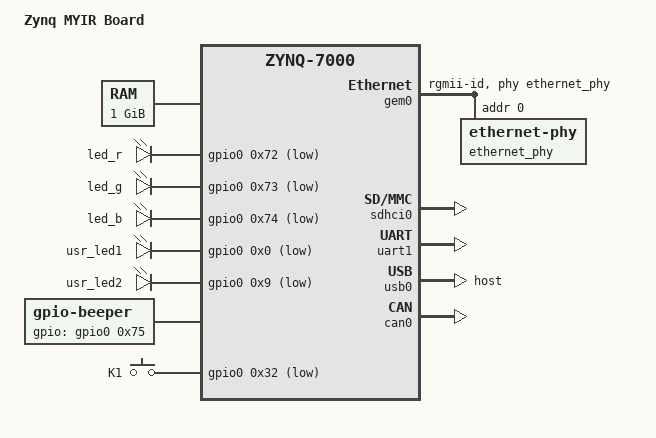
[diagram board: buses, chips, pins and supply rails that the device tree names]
/*
 *  Copyright (C) 2015 Andrea Merello <adnrea.merello@gmail.com>
 *
 *  Based on zynq-zed.dts which is:
 *  Copyright (C) 2011 - 2014 Xilinx
 *  Copyright (C) 2012 National Instruments Corp.
 *
 * This software is licensed under the terms of the GNU General Public
 * License version 2, as published by the Free Software Foundation, and
 * may be copied, distributed, and modified under those terms.
 *
 * This program is distributed in the hope that it will be useful,
 * but WITHOUT ANY WARRANTY; without even the implied warranty of
 * MERCHANTABILITY or FITNESS FOR A PARTICULAR PURPOSE.  See the
 * GNU General Public License for more details.
 */
/dts-v1/;
/include/ "zynq-7000.dtsi"

/ {
	model = "Zynq MYIR Board";
	compatible = "xlnx,zynq-7000";

	aliases {
		ethernet0 = &gem0;
		serial0 = &uart1;
	};

	memory {
		device_type = "memory";
		reg = <0x0 0x40000000>;
	};

	chosen {
		bootargs = "console=ttyPS0,115200 earlyprintk root=/dev/mmcblk0p2 rootwait";
	};

	gpio-leds {
		compatible = "gpio-leds";
		led_r {
			label = "led_r";
			gpios = <&gpio0 0x72 0x1>;
			default-state = "on";
			linux,default-trigger = "heartbeat";
		};

		led_g {
			label = "led_g";
			gpios = <&gpio0 0x73 0x1>;
			default-state = "on";
			linux,default-trigger = "heartbeat";
		};

		led_b {
			label = "led_b";
			gpios = <&gpio0 0x74 0x1>;
			default-state = "on";
			linux,default-trigger = "heartbeat";
		};

		usr_led1 {
			label = "usr_led1";
			gpios = <&gpio0 0x0 0x1>;
			default-state = "off";
			linux,default-trigger = "none";
		};

		usr_led2 {
			label = "usr_led2";
			gpios = <&gpio0 0x9 0x1>;
			default-state = "off";
			linux,default-trigger = "none";
		};
	};

	gpio-beep {
		compatible = "gpio-beeper";
		lable = "pl-beep";
		gpios = <&gpio0 0x75 0x0>;
	};

	gpio-keys {
		compatible = "gpio-keys";
		#address-cells = <0x1>;
		#size-cells = <0x0>;
		autorepeat;
		K1 {
			label = "K1";
			gpios = <&gpio0 0x32 0x1>;
			linux,code = <0x66>;
			gpio-key,wakeup;
			autorepeat;
		};
	};
};

&clkc {
	ps-clk-frequency = <33333333>;
	fclk-enable = <0xf>;
};

&gem0 {
	status = "okay";
	phy-mode = "rgmii-id";
	phy-handle = <&ethernet_phy>;

	ethernet_phy: ethernet-phy@0 {
		reg = <0x0>;
	};
};

&sdhci0 {
	status = "okay";
};

&uart1 {
	status = "okay";
};

&usb0 {
	status = "okay";
	dr_mode = "host";
};

&can0 {
	status = "okay";
};
